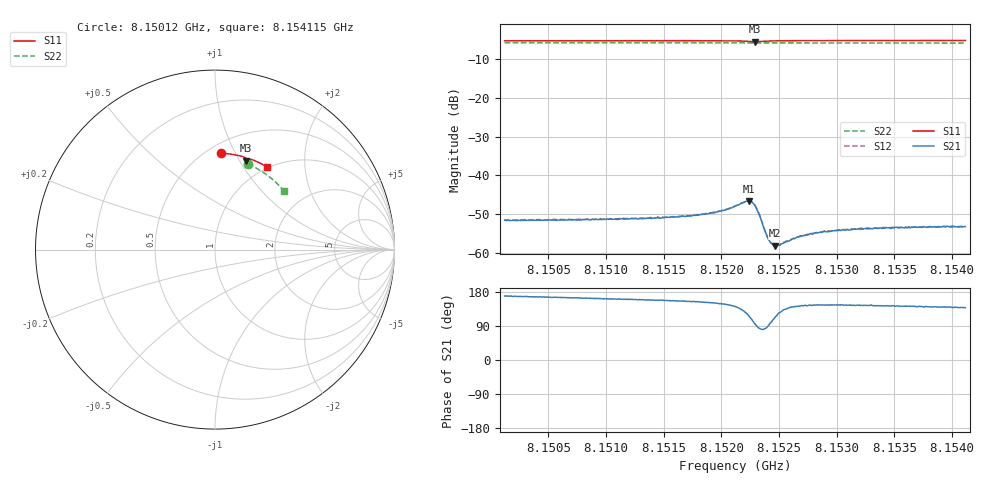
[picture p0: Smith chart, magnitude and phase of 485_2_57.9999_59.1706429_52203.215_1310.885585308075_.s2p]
#  HZ  S  RI  R  50.00
! Rohde & Schwarz Vector Network Analyzer
! Rohde-Schwarz,ZNB20-2Port,1311601062101988,3.16
! Created: UTC 3/21/2024, 1:12:02 AM
! freq[Hz]  re:S11  im:S11  re:S21  im:S21  re:S12  im:S12  re:S22  im:S22
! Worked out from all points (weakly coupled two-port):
!   401 points, 8.15012 GHz to 8.154115 GHz, reference 50 ohm
!   highest |S21| = -46.61 dB at 8.152237 GHz (marker M1); lowest = -58.1 dB at 8.152467 GHz (marker M2)
!   lowest |S11| = -5.6 dB at 8.152287 GHz (marker M3), VSWR 3.21, Z = 39 + j53.3 ohm
!   |S11| at or under -10 dB: nowhere
!   |S22| runs from -6.0 to -5.9 dB; largest |S21 - S12| = 0.00012
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8.1501196e9  0.0315 0.5374  -0.0026 0.000512  -0.00259 0.000569  0.1836 0.4754
8.1507888e9  0.0782 0.5337  -0.00255 0.000763  -0.00256 0.000843  0.2227 0.4575
8.1514581e9  0.1247 0.5258  -0.00262 0.00108  -0.00265 0.00112  0.2598 0.4363
8.1517378e9  0.1442 0.5209  -0.0027 0.00131  -0.00274 0.00137  0.2747 0.4264
8.1518876e9  0.1551 0.5178  -0.00285 0.00154  -0.00283 0.0016  0.2827 0.421
8.1520175e9  0.1648 0.514  -0.003 0.00188  -0.00301 0.00196  0.2894 0.4163
8.1521174e9  0.1727 0.5093  -0.00313 0.0025  -0.00311 0.00257  0.2945 0.4123
8.1521973e9  0.1777 0.5027  -0.0028 0.00352  -0.00278 0.00357  0.2985 0.409
8.1522372e9  0.1775 0.4981  -0.00208 0.00418  -0.00205 0.00424  0.3003 0.4073
8.1522672e9  0.1751 0.496  -0.00117 0.00432  -0.00108 0.00438  0.3016 0.4062
8.1522872e9  0.1731 0.4958  -0.000453 0.00415  -0.000443 0.00418  0.3026 0.4054
8.1523171e9  0.171 0.498  0.000249 0.00338  0.000279 0.00341  0.3039 0.4046
8.1523771e9  0.1733 0.5038  0.000238 0.00191  0.000281 0.00194  0.3069 0.4024
8.152407e9  0.1761 0.5054  -1.9e-05 0.00151  3.79e-05 0.00151  0.3084 0.4012
8.152437e9  0.1791 0.506  -0.000277 0.0013  -0.000266 0.00129  0.31 0.4
8.152467e9  0.182 0.5063  -0.000503 0.00114  -0.000468 0.00114  0.3115 0.3989
8.1525069e9  0.1857 0.5062  -0.000728 0.00104  -0.00072 0.00106  0.3135 0.3974
8.1526667e9  0.1985 0.5035  -0.00127 0.000998  -0.00128 0.000996  0.3213 0.3909
8.1527866e9  0.2073 0.5007  -0.00141 0.00103  -0.00145 0.00106  0.3272 0.3856
8.1530263e9  0.2235 0.4943  -0.00163 0.00112  -0.0016 0.00116  0.3383 0.3755
8.1534559e9  0.2511 0.4818  -0.00169 0.00127  -0.00167 0.00133  0.3575 0.3563
8.1541151e9  0.2912 0.4597  -0.00164 0.00146  -0.00164 0.0015  0.3846 0.3251
